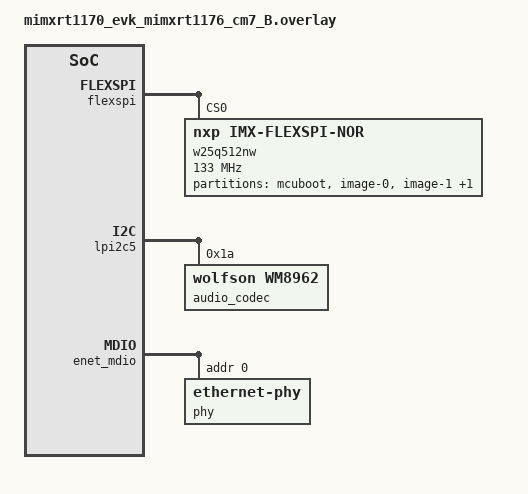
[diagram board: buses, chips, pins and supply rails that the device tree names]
/*
 * Copyright 2023, 2025 NXP
 *
 * SPDX-License-Identifier: Apache-2.0
 */

/ {
	chosen {
		zephyr,flash-controller = &w25q512nw;
		zephyr,flash = &w25q512nw;
		zephyr,code-partition = &slot0_partition;
	};

	aliases {
		/delete-property/ magn0;
		/delete-property/ accel0;
		i2s-codec-tx = &sai1;
		i2s-tx = &sai1;
	};
};

&flexspi {
	/* RT1170 EVKB uses a different QSPI flash chip */
	/delete-node/ is25wp128@0;
	status = "okay";
	reg = <0x400cc000 0x4000>, <0x30000000 DT_SIZE_M(64)>;

	w25q512nw: w25q512nw@0 {
		compatible = "nxp,imx-flexspi-nor";
		size = <DT_SIZE_M(64*8)>;
		reg = <0>;
		spi-max-frequency = <DT_FREQ_M(133)>;
		status = "okay";
		jedec-id = [ef 60 20];
		erase-block-size = <DT_SIZE_K(4)>;
		write-block-size = <1>;

		partitions {
			compatible = "fixed-partitions";
			#address-cells = <1>;
			#size-cells = <1>;

			/*
			 * Partition sizes must be aligned
			 * to the flash memory sector size of 4KB.
			 */
			boot_partition: partition@0 {
				label = "mcuboot";
				reg = <0x00000000 DT_SIZE_K(128)>;
			};

			slot0_partition: partition@20000 {
				label = "image-0";
				reg = <0x00020000 DT_SIZE_M(7)>;
			};

			slot1_partition: partition@720000 {
				label = "image-1";
				reg = <0x00720000 DT_SIZE_M(7)>;
			};

			storage_partition: partition@E20000 {
				label = "storage";
				reg = <0x00E20000 (DT_SIZE_M(50) - DT_SIZE_K(128))>;
			};
		};
	};
};

&lpi2c5 {
	/* FXOS accelerometer is not present in this board */
	/delete-node/ fxos8700@1f;
};

&enet_mdio {
	/delete-node/ phy@0;

	phy: phy@0 {
		compatible = "ethernet-phy";
		reg = <0>;
		status = "okay";
	};
};

&lpi2c5 {
	pinctrl-0 = <&pinmux_lpi2c5>;
	pinctrl-names = "default";
	#address-cells = <1>;
	#size-cells = <0>;

	audio_codec: wm8962@1a {
		compatible = "wolfson,wm8962";
		reg = <0x1a>;
		clock-source = "MCLK";
		clocks = <&ccm IMX_CCM_SAI1_CLK 0x2004 4>;
		clock-names = "mclk";
	};
};

m2_hci_bt_uart: &lpuart2 {};

m2_wifi_sdio: &usdhc1 {};
